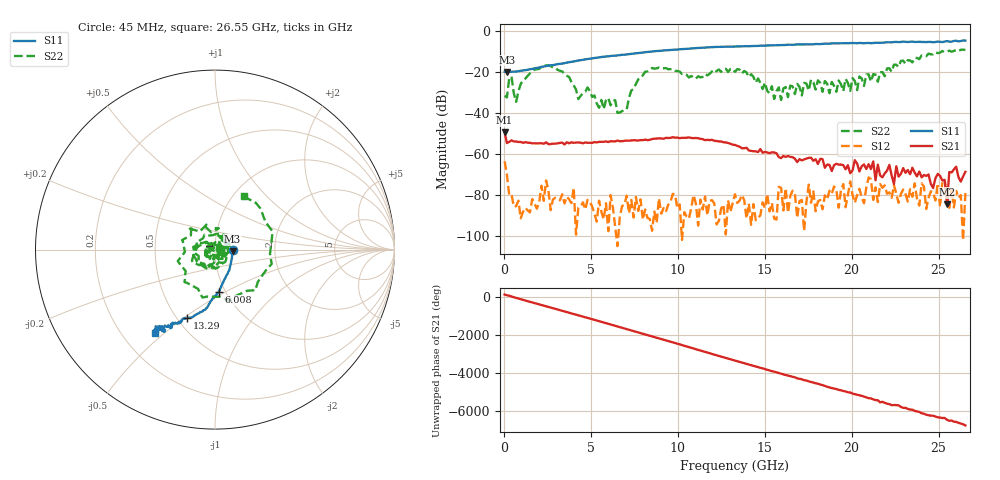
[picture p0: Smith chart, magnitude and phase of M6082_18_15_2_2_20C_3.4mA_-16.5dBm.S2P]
!  2-Port S-parameters saved by WinCal
! VAR MeasName=S-Parameters (CALIBRATED_DATA) read from VNA (C)
! VAR MeasDate=9/29/2015 2:55:37 PM
! VAR NAME=M6082_18_15_2_2_20C_3.4mA_-16.5dBm
! VAR FILENAME=M6082_18_15_2_2_20C_3.4mA_-16.5dBm.S2P
! VAR DATE=9/29/2015 2:55:38 PM
! VAR PHYS_PORTS=2,1
! VAR ObjTypeName=DATASET
! VAR IndexType=Frequency
# Hz S DB R 50
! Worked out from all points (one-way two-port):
!   201 points, 45 MHz to 26.55 GHz, reference 50 ohm
!   highest |S21| = -49.64 dB at 45 MHz (marker M1); lowest = -84.8 dB at 25.48 GHz (marker M2)
!   lowest |S11| = -20.2 dB at 177.5 MHz (marker M3), VSWR 1.22, Z = 60.8 - j1.04 ohm
!   |S11| at or under -10 dB: start of sweep to 8.689 GHz
!   |S22| runs from -40.1 to -9.2 dB; largest |S21 - S12| = 0.0039
!   S11 on the Smith chart (normalised r, x): 45 MHz: 1.22, -0.00; 6.008 GHz: 0.93, -0.46; 13.29 GHz: 0.56, -0.52; 26.55 GHz: 0.34, -0.46
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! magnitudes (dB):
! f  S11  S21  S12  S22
! 45 MHz  -20.1  -49.6  -63.7  -31.8
! 177.5 MHz  -20.2  -54.8  -70.2  -32.6
! 310 MHz  -20.1  -54.3  -80.2  -23.3
! 707.5 MHz  -19.9  -54.1  -85.6  -34.7
! 2.562 GHz  -17.0  -55.4  -77.9  -16.8
! 4.55 GHz  -14.2  -55.0  -83.8  -30.3
! 6.008 GHz  -12.5  -54.3  -97.9  -32.8
! 7.067 GHz  -11.6  -53.7  -80.5  -38.3
! 8.922 GHz  -9.9  -52.5  -81.8  -18.0
! 13.29 GHz  -7.7  -55.8  -79.8  -20.1
! 15.95 GHz  -7.0  -62.2  -76.7  -33.8
! 17.8 GHz  -6.7  -63.5  -78.5  -25.2
! 20.71 GHz  -6.1  -65.3  -84.2  -27.0
! 20.98 GHz  -6.0  -65.2  -71.6  -21.3
! 21.25 GHz  -6.0  -63.8  -82.6  -21.2
! 21.38 GHz  -5.9  -73.0  -76.5  -21.4
! 22.17 GHz  -5.7  -65.5  -78.9  -18.4
! 22.44 GHz  -5.5  -74.8  -75.3  -16.6
! 23.5 GHz  -5.4  -66.9  -81.1  -15.5
! 25.48 GHz  -5.1  -84.8  -79.5  -10.3
! 25.62 GHz  -5.3  -69.0  -86.5  -9.7
! 26.55 GHz  -4.8  -68.9  -79.2  -9.5
